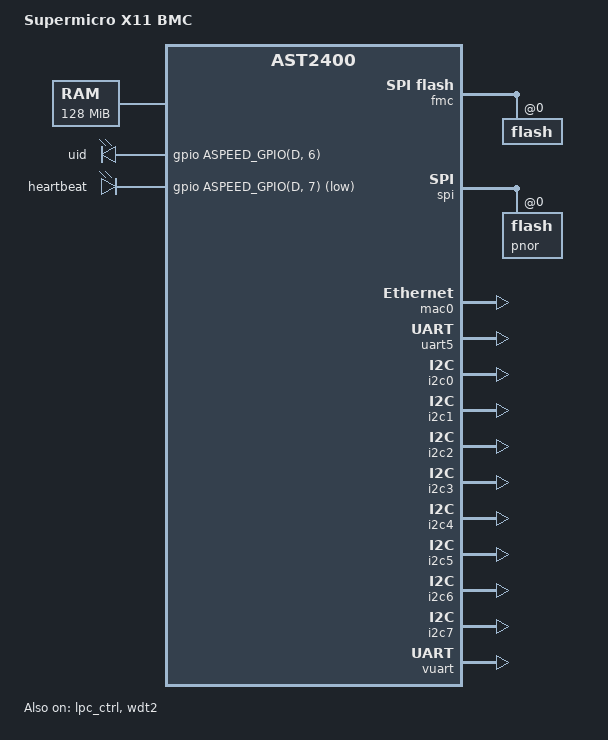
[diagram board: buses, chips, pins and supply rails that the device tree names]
/dts-v1/;

#include "aspeed-g4.dtsi"
#include <dt-bindings/gpio/aspeed-gpio.h>

/ {
	model = "Supermicro X11 BMC";
	compatible = "aspeed,ast2400";

	aliases {
		serial4 = &uart5;
	};

	chosen {
		stdout-path = &uart5;
		bootargs = "console=ttyS4,115200 earlyprintk";
	};

	memory {
		/* 128 MiB DDR3 memory */
		reg = <0x40000000 0x08000000>;
	};

	reserved-memory {
		#address-cells = <1>;
		#size-cells = <1>;
		ranges;

		vga_memory: framebuffer@47000000 {
			no-map;
			reg = <0x47000000 0x01000000>; /* 16MB */
		};

		flash_memory: region@98000000 {
			no-map;
			reg = <0x98000000 0x01000000>; /* 16MB */
		};
	};

	leds {
		compatible = "gpio-leds";

		uid {
			gpios = <&gpio ASPEED_GPIO(D, 6) GPIO_ACTIVE_HIGH>;
		};

		heartbeat {
			gpios = <&gpio ASPEED_GPIO(D, 7) GPIO_ACTIVE_LOW>;
		};
	};
};

&fmc {
	status = "okay";
	flash@0 {
		status = "okay";
		m25p,fast-read;
#include "aspeed-bmc-opp-flash-layout.dtsi"
	};
};

&spi {
	status = "okay";
	pinctrl-names = "default";
	pinctrl-0 = <&pinctrl_spi1debug_default>;

	flash@0 {
		status = "okay";
		label = "pnor";
		m25p,fast-read;
	};
};

&pinctrl {
	pinctrl-names = "default";
	pinctrl-0 = <&pinctrl_flbusy_default &pinctrl_flwp_default

			&pinctrl_vgahs_default &pinctrl_vgavs_default
			&pinctrl_ddcclk_default &pinctrl_ddcdat_default>;
};

&mac0 {
	status = "okay";

	use-ncsi;
	no-hw-checksum;

	pinctrl-names = "default";
	pinctrl-0 = <&pinctrl_rmii1_default>;
};


&uart5 {
	status = "okay";
};

&i2c0 {
	status = "okay";
};

&i2c1 {
	status = "okay";
};

&i2c2 {
	status = "okay";
};

&i2c3 {
	status = "okay";
};

&i2c4 {
	status = "okay";
};

&i2c5 {
	status = "okay";
};

&i2c6 {
	status = "okay";
};

&i2c7 {
	status = "okay";
};

&vuart {
	status = "okay";
};

&lpc_ctrl {
	status = "okay";
	memory-region = <&flash_memory>;
	flash = <&spi>;
};

&mbox {
	status = "okay";
};

&wdt2 {
	status = "okay";
};
